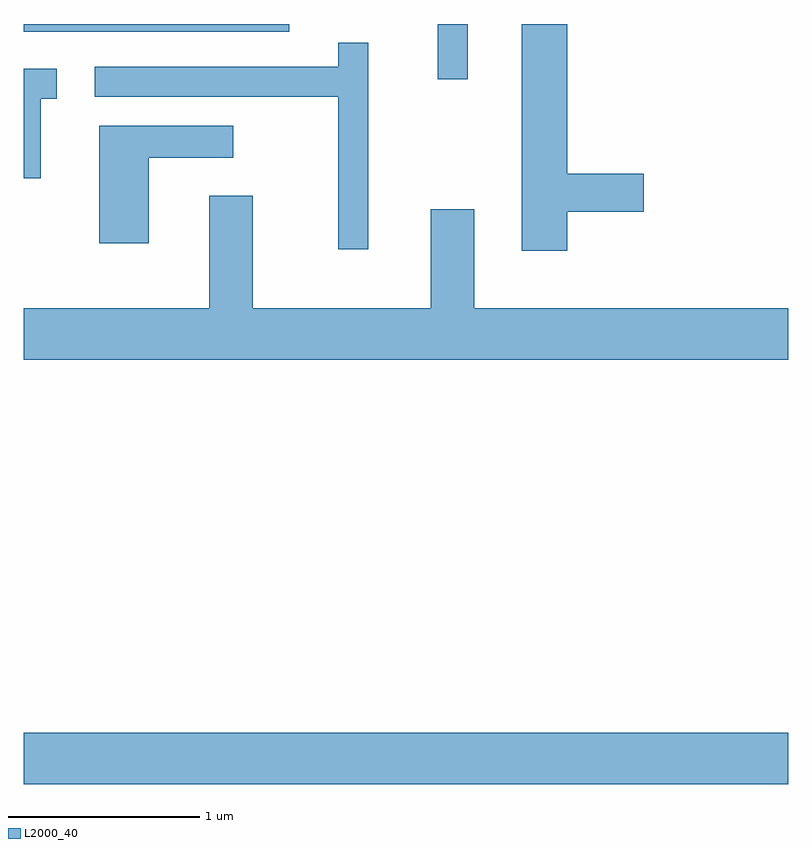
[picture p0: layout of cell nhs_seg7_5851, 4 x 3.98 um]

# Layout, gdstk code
import gdstk
lib = gdstk.Library(unit=1e-6, precision=1e-09)
def R(c, l, rs):  # rectangles x0, y0, x1, y1
    for r in rs: c.add(gdstk.rectangle(r[:2], r[2:], *l))
def P(c, l, *ps):  # polygons
    for p in ps: c.add(gdstk.Polygon(p, *l))
L2000_40 = (2000, 40)

nhs_seg7_5851 = lib.new_cell('nhs_seg7_5851')
R(nhs_seg7_5851, L2000_40, [(363.611,1754.276,367.611,1754.544), (365.776,1757.963,365.934,1758.252), (363.611,1758.211,364.999,1758.252)])
P(nhs_seg7_5851, L2000_40, [(366.454,1757.271),(366.854,1757.271),(366.854,1757.469),(366.454,1757.469),(366.454,1758.252),(366.216,1758.252),(366.216,1757.066),(366.454,1757.066)],
  [(365.414,1758.153),(365.256,1758.153),(365.256,1758.029),(363.983,1758.029),(363.983,1757.871),(365.256,1757.871),(365.256,1757.073),(365.414,1757.073)],
  [(363.699,1757.861),(363.783,1757.861),(363.783,1758.019),(363.611,1758.019),(363.611,1757.446),(363.699,1757.446)],
  [(364.264,1757.551),(364.708,1757.551),(364.708,1757.719),(364.006,1757.719),(364.006,1757.106),(364.264,1757.106)],
  [(367.611,1756.764),(365.969,1756.764),(365.969,1757.284),(365.741,1757.284),(365.741,1756.764),(364.809,1756.764),(364.809,1757.354),(364.581,1757.354),(364.581,1756.764),(363.611,1756.764),(363.611,1756.496),(367.611,1756.496)])

lib.write_gds('nhs_seg7_5851.gds')
